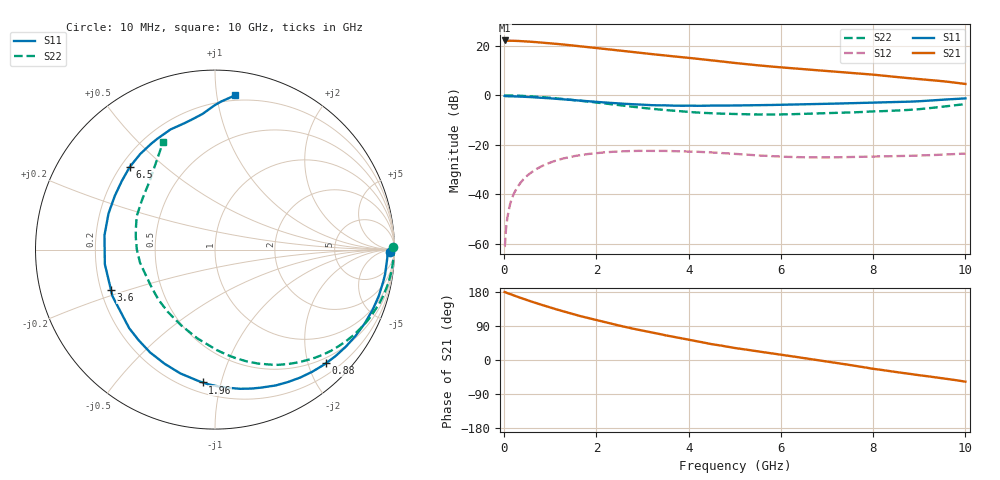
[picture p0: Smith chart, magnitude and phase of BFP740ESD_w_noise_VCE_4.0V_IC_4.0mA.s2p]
! Infineon Technologies  Discrete & RF Semiconductors
! BFP740ESD
! VCE =  4.0 V,  IC =  4.0 mA
! Common Emitter S-Parameters:  Jan 2016
# GHz  S  MA  R  50
!  f  S11  S21  S12  S22
! GHz  MAG  ANG  MAG  ANG  MAG  ANG  MAG  ANG
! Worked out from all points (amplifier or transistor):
!   233 points, 10 MHz to 10 GHz, reference 50 ohm
!   highest |S21| = 22.2 dB at 10 MHz (marker M1)
!   |S21| within 3 dB of that: start of sweep to 1.969 GHz
!   unconditionally stable (mu >= 1): 6.027 GHz to 9.347 GHz
!   at 200 MHz: K = 0.08, MSG = 31.1 dB, |S12| = -40.2 dB
!   at 1.74 GHz: K = 0.24, MSG = 21.8 dB, |S12| = -23.9 dB
!   at 10 GHz: K = 0.66, MSG = 14.1 dB, |S12| = -23.5 dB
!   lowest NFmin = 0.51 dB at 450 MHz
!   S11 on the Smith chart (normalised r, x): 10 MHz: 60, -33; 880 MHz: 0.40, -2.32; 1.96 GHz: 0.26, -0.88; 3.6 GHz: 0.24, -0.18; 6.5 GHz: 0.24, +0.39; 10 GHz: 0.16, +1.13
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0.01  0.9749 -0.8  12.82 179.4  0.0009 22.0  0.9906 0.7
0.02  0.9616 -1.1  12.66 179.1  0.001 62.9  0.9957 -0.7
0.08  0.9592 -4.3  12.68 176.2  0.0039 81.6  0.995 -2.9
0.22  0.9527 -11.7  12.61 169.9  0.0108 79.8  0.9889 -8.0
0.36  0.9425 -19.1  12.45 163.9  0.0174 75.9  0.9781 -13.1
0.6  0.919 -31.5  12.02 153.8  0.0282 68.2  0.9513 -21.3
0.88  0.8851 -45.6  11.48 143.1  0.0396 59.2  0.9116 -30.7
1.24  0.8361 -63.1  10.71 129.8  0.0518 48.4  0.8504 -42.3
1.68  0.7766 -83.3  9.719 115.0  0.0627 36.6  0.7715 -55.0
1.96  0.7433 -95.3  9.099 106.4  0.0676 30.0  0.7239 -62.4
2.26  0.7086 -108.0  8.492 97.5  0.0715 23.3  0.6724 -70.2
2.66  0.671 -124.6  7.731 86.3  0.0747 15.0  0.6067 -80.6
3  0.6483 -137.5  7.142 77.4  0.0758 8.9  0.5595 -89.0
3.4  0.6266 -151.8  6.508 67.8  0.0754 2.8  0.5135 -98.6
3.6  0.6215 -158.8  6.232 62.9  0.075 0.0  0.4943 -103.6
4  0.6191 -172.5  5.731 53.3  0.0738 -5.2  0.4626 -113.9
4.5  0.6209 172.6  5.095 41.8  0.0705 -11.0  0.4352 -127.3
5.1  0.6264 159.4  4.406 30.0  0.0649 -15.2  0.4178 -140.5
6.5  0.6616 135.9  3.374 4.9  0.056 -15.5  0.4243 -170.3
6.8  0.6689 131.1  3.207 -0.4  0.0558 -14.5  0.4295 -176.3
8.4  0.7245 103.6  2.397 -30.1  0.0588 -13.0  0.4875 147.8
10  0.8671 82.5  1.7 -57.1  0.0667 -15.1  0.6661 115.7
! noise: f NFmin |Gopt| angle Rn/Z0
0.45  0.51  0.48  6  0.16
0.9  0.54  0.48  17  0.14
1.9  0.58  0.41  37  0.12
2.4  0.65  0.36  54  0.14
5.5  0.98  0.27  -178  0.11
10  2.13  0.64  -96  0.63
